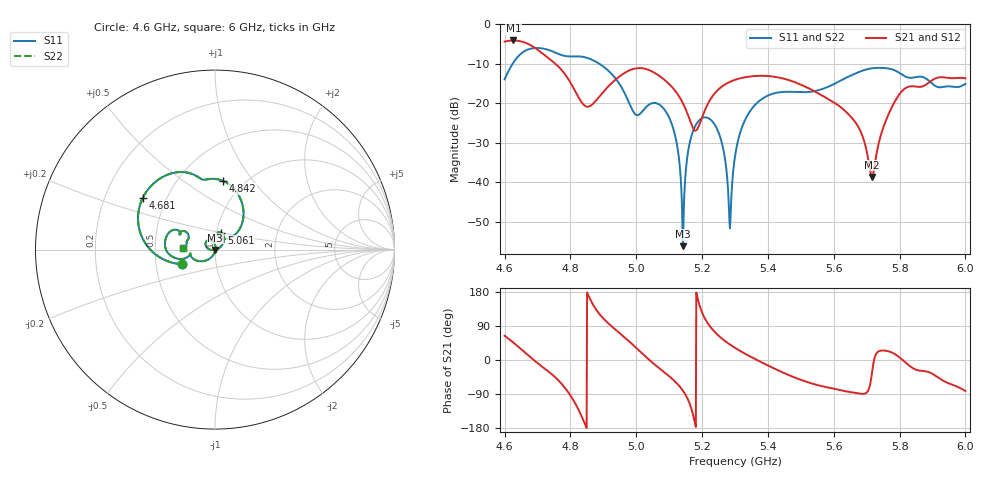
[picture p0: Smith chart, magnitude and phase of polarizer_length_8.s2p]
! TOUCHSTONE file generated by CST MICROWAVE STUDIO
! Date and time: Sun Dec  1 17:16:59 2024
! Project name: test_tuning.cst
! Parameters = {airCoaxOuterDiameter=3; chamferAngle=45; chamferWidth=24; connectorLength=10; drillingHoleDiameter=4.1; feedLength=60; flareDiameter=130; flareLength=70; gratingDistance=0; gratingGap=1.90274; outletLength=30; polarizerLength=78; probe1Diameter=1.3; probe1Distance=14; probe1Length=12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
! Header version: 2024
! Port assignment regex: !\s*Touchstone port\s*([0-9]+)\s*=\s*(CST MWS port|CST DES external port|CST DES block port)\s*(.+)\s* \(\"(.*)\"\)(\s*mode\s*([0-9]+))?.*
! Touchstone port assignment:
! Touchstone port 1 = CST MWS port 1 ("Input1")
! Touchstone port 2 = CST MWS port 2 ("Input2")
# GHz S MA R 50
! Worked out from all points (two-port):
!   1001 points, 4.6 GHz to 6 GHz, reference 50 ohm
!   highest |S21| = -4.05 dB at 4.627 GHz (marker M1); lowest = -38.6 dB at 5.716 GHz (marker M2)
!   |S21| within 3 dB of the highest: start of sweep to 4.711 GHz
!   lowest |S11| = -56.2 dB at 5.142 GHz (marker M3), VSWR 1.00, Z = 50 - j0.151 ohm
!   |S11| at or under -10 dB: start of sweep to 4.624 GHz; 4.889 GHz to end of sweep
!   |S22| runs from -56.2 to -6.0 dB; largest |S21 - S12| = 4.6e-07
!   S11 on the Smith chart (normalised r, x): 4.6 GHz: 0.68, -0.12; 4.681 GHz: 0.37, +0.28; 4.842 GHz: 0.80, +0.72; 5.061 GHz: 1.05, +0.20; 6 GHz: 0.70, +0.01
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4.6  0.2021 -156.1  0.6059 63.9  0.6059 63.9  0.2021 -156.1
4.6266  0.3282 -174.7  0.6272 46.0  0.6272 46.0  0.3282 -174.7
4.6812  0.4953 144.1  0.5395 5.3  0.5395 5.3  0.4953 144.1
4.761  0.4276 104.9  0.299 -51.6  0.299 -51.6  0.4276 104.9
4.8338  0.3913 87.1  0.1035 -148.1  0.1035 -148.1  0.3913 87.1
4.8422  0.3858 83.6  0.09441 -164.9  0.09441 -164.9  0.3858 83.6
4.999  0.07178 59.1  0.2777 32.8  0.2777 32.8  0.07178 59.1
5.0606  0.1006 69.3  0.237 -15.2  0.237 -15.2  0.1006 69.3
5.0676  0.09791 65.0  0.2267 -20.1  0.2267 -20.1  0.09791 65.0
5.1166  0.04141 29.7  0.1472 -55.7  0.1472 -55.7  0.04141 29.7
5.1418  0.001551 -76.1  0.1003 -81.0  0.1003 -81.0  0.001551 -76.1
5.1628  0.03217 177.1  0.06133 -116.6  0.06133 -116.6  0.03217 177.1
5.1936  0.06243 148.6  0.05624 140.7  0.05624 140.7  0.06243 148.6
5.2524  0.04027 98.5  0.1538 62.4  0.1538 62.4  0.04028 98.5
5.2832  0.003185 26.7  0.1862 41.6  0.1862 41.6  0.003185 26.7
5.3  0.02123 -100.9  0.1989 32.1  0.1989 32.1  0.02123 -100.9
5.3714  0.1052 -141.8  0.2235 -2.1  0.2235 -2.1  0.1052 -141.8
5.5338  0.1409 -169.1  0.1482 -62.0  0.1482 -62.0  0.1409 -169.1
5.6654  0.2387 -170.2  0.05783 -86.9  0.05783 -86.9  0.2387 -170.2
5.7158  0.2783 176.6  0.01172 -36.3  0.01172 -36.3  0.2783 176.6
5.7676  0.2761 161.3  0.07451 22.6  0.07451 22.6  0.2761 161.3
6  0.1765 177.1  0.2077 -81.6  0.2077 -81.6  0.1765 177.1
